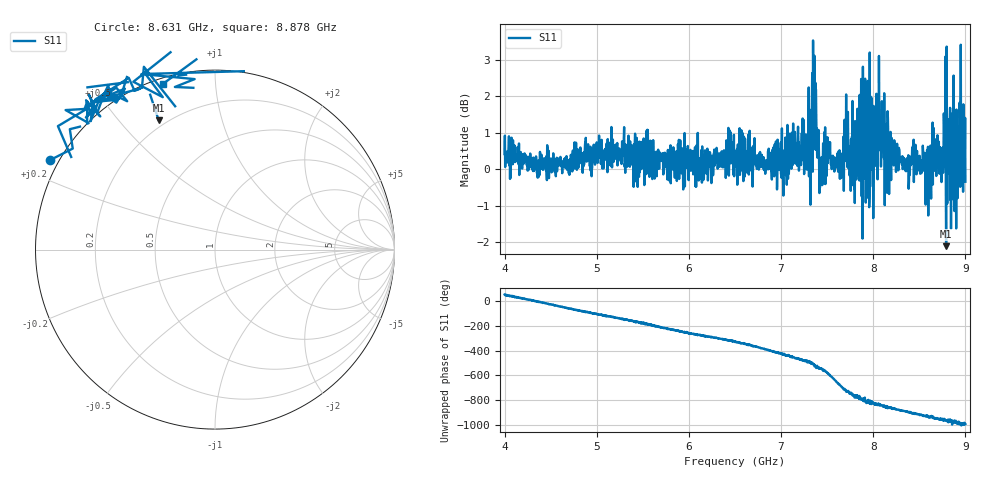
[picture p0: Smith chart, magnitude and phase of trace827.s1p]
! Created with skrf 1.8.0 (http://scikit-rf.org).
# Hz S RI R 50.0
!freq ReS11 ImS11
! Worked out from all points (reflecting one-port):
!   1601 points, 4 GHz to 9 GHz, reference 50 ohm
!   lowest |S11| = -2.1 dB at 8.791 GHz (marker M1), VSWR 8.29, Z = 8.56 + j32.1 ohm
!   phase of S11 starts at 53 deg and turns -1047 deg over the sweep
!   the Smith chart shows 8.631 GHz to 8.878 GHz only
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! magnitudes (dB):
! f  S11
! 4 GHz  0.4
! 4.625 GHz  -0.1
! 5.25 GHz  0.3
! 5.875 GHz  0.3
! 6.5 GHz  0.1
! 7.038 GHz  0.3
! 7.125 GHz  0.1
! 7.303 GHz  -0.2
! 7.359 GHz  2.4
! 7.409 GHz  0.7
! 7.438 GHz  0.0
! 7.509 GHz  0.2
! 7.656 GHz  -0.1
! 7.709 GHz  0.3
! 7.75 GHz  0.4
! 7.816 GHz  -0.3
! 7.847 GHz  1.2
! 8.022 GHz  0.7
! 8.05 GHz  1.3
! 8.197 GHz  0.2
! 8.375 GHz  0.3
! 8.616 GHz  0.4
! 8.656 GHz  1.1
! 8.738 GHz  0.5
! 8.791 GHz  -2.1
! 8.869 GHz  -0.8
! 8.959 GHz  1.7
! 9 GHz  -0.3
